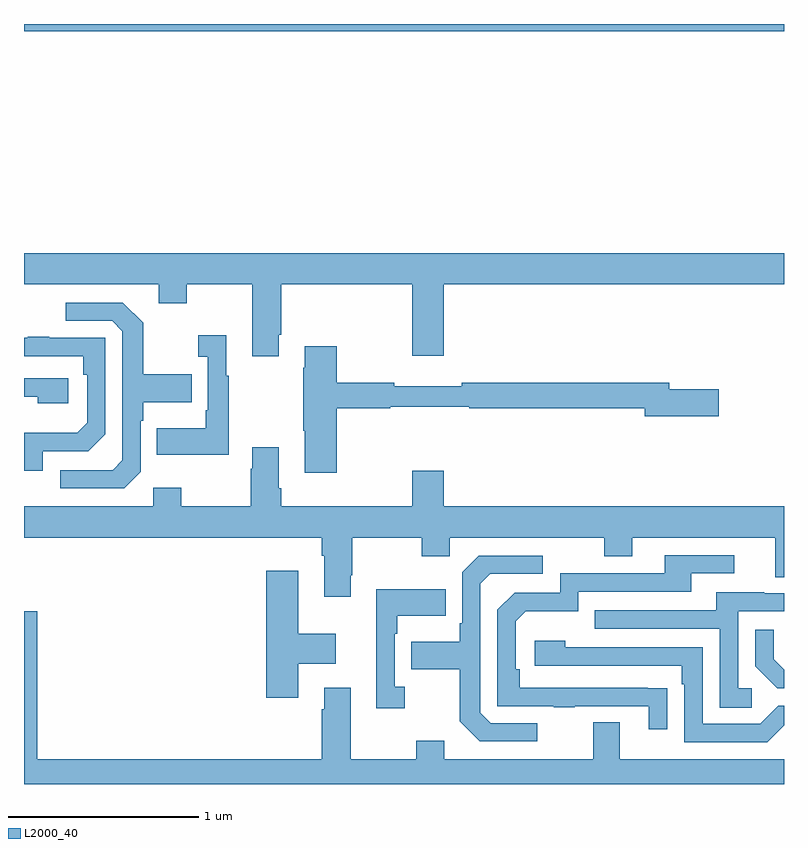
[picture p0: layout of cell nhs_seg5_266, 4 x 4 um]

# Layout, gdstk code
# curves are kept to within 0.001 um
import gdstk
lib = gdstk.Library(unit=1e-6, precision=1e-09)
def R(c, l, rs):  # rectangles x0, y0, x1, y1
    for r in rs: c.add(gdstk.rectangle(r[:2], r[2:], *l))
def P(c, l, *ps):  # polygons
    for p in ps: c.add(gdstk.Polygon(p, *l))
L2000_40 = (2000, 40)

nhs_seg5_266 = lib.new_cell('nhs_seg5_266')
R(nhs_seg5_266, L2000_40, [(127,856.76,131,856.799)])
P(nhs_seg5_266, L2000_40, [(128.341,855.163),(128.354,855.163),(128.354,855.428),(129.044,855.428),(129.044,855.054),(129.208,855.054),(129.208,855.428),(131,855.428),(131,855.592),(127,855.592),(127,855.428),(127.709,855.428),(127.709,855.329),(127.857,855.329),(127.857,855.428),(128.201,855.428),(128.201,855.051),(128.341,855.051)],
  [(127.614,854.442),(127.614,854.711),(127.627,854.711),(127.627,854.807),(127.883,854.807),(127.883,854.955),(127.627,854.955),(127.627,855.227),(127.521,855.333),(127.221,855.333),(127.221,855.237),(127.464,855.237),(127.518,855.183),(127.518,854.502),(127.467,854.451),(127.191,854.451),(127.191,854.355),(127.527,854.355)],
  [(128.077,854.947),(128.065,854.947),(128.065,855.16),(127.917,855.16),(127.917,855.047),(127.968,855.047),(127.968,854.767),(127.956,854.767),(127.956,854.671),(127.699,854.671),(127.699,854.531),(128.077,854.531)],
  [(127.098,854.55),(127.338,854.55),(127.428,854.64),(127.428,855.147),(127.133,855.147),(127.133,855.152),(127.021,855.152),(127.021,855.147),(127,855.147),(127,855.051),(127.312,855.051),(127.312,854.954),(127.332,854.954),(127.332,854.7),(127.279,854.647),(127.002,854.647),(127.002,854.544),(127,854.544),(127,854.448),(127.098,854.448)],
  [(128.645,854.776),(128.928,854.776),(128.928,854.784),(129.343,854.784),(129.343,854.776),(130.268,854.776),(130.268,854.734),(130.657,854.734),(130.657,854.876),(130.396,854.876),(130.396,854.912),(129.304,854.912),(129.304,854.893),(128.948,854.893),(128.948,854.912),(128.645,854.912),(128.645,855.103),(128.477,855.103),(128.477,854.99),(128.47,854.99),(128.47,854.659),(128.477,854.659),(128.477,854.436),(128.645,854.436)],
  [(127.234,854.934),(127,854.934),(127,854.838),(127.073,854.838),(127.073,854.804),(127.234,854.804)],
  [(128.719,853.897),(128.727,853.897),(128.727,854.096),(129.094,854.096),(129.094,853.997),(129.24,853.997),(129.24,854.096),(130.054,854.096),(130.054,853.997),(130.201,853.997),(130.201,854.096),(130.955,854.096),(130.955,853.888),(131,853.888),(131,854.26),(129.208,854.26),(129.208,854.449),(129.044,854.449),(129.044,854.26),(128.354,854.26),(128.354,854.356),(128.341,854.356),(128.341,854.572),(128.201,854.572),(128.201,854.459),(128.194,854.459),(128.194,854.26),(127.827,854.26),(127.827,854.359),(127.68,854.359),(127.68,854.26),(127,854.26),(127,854.096),(128.567,854.096),(128.567,854),(128.579,854),(128.579,853.785),(128.719,853.785)],
  [(130.385,853.304),(129.608,853.305),(129.608,853.402),(129.588,853.402),(129.588,853.656),(129.641,853.709),(129.918,853.709),(129.918,853.812),(130.513,853.812),(130.513,853.908),(130.738,853.908),(130.738,854.004),(130.373,854.004),(130.373,853.908),(129.822,853.908),(129.822,853.806),(129.582,853.806),(129.492,853.716),(129.492,853.209),(129.787,853.209),(129.787,853.204),(129.899,853.204),(129.899,853.209),(130.289,853.209),(130.289,853.086),(130.385,853.086)],
  [(129.7,853.119),(129.456,853.119),(129.402,853.173),(129.402,853.854),(129.453,853.905),(129.73,853.905),(129.73,854.001),(129.393,854.001),(129.306,853.914),(129.306,853.645),(129.294,853.645),(129.294,853.549),(129.037,853.549),(129.037,853.402),(129.294,853.402),(129.294,853.129),(129.399,853.023),(129.7,853.023)],
  [(128.443,853.433),(128.641,853.433),(128.641,853.591),(128.443,853.591),(128.443,853.921),(128.276,853.921),(128.276,853.254),(128.443,853.254)],
  [(129.004,853.31),(128.952,853.31),(128.952,853.589),(128.965,853.589),(128.965,853.685),(129.221,853.685),(129.221,853.825),(128.855,853.825),(128.855,853.197),(129.004,853.197)],
  [(130.831,853.302),(130.758,853.302),(130.758,853.707),(131,853.707),(131,853.803),(130.897,853.803),(130.897,853.807),(130.643,853.807),(130.643,853.713),(130.003,853.713),(130.003,853.617),(130.662,853.617),(130.662,853.201),(130.831,853.201)],
  [(129.064,852.928),(128.719,852.928),(128.719,853.306),(128.579,853.306),(128.579,853.193),(128.567,853.193),(128.567,852.928),(127.07,852.928),(127.07,853.708),(127,853.708),(127,852.799),(131,852.799),(131,852.928),(130.135,852.928),(130.135,853.123),(129.995,853.123),(129.995,852.928),(129.211,852.928),(129.211,853.027),(129.064,853.027)],
  [(131,853.4),(130.945,853.455),(130.945,853.612),(130.848,853.612),(130.848,853.418),(130.964,853.302),(131,853.302)],
  [(131,853.109),(131,853.212),(130.971,853.212),(130.875,853.116),(130.572,853.116),(130.572,853.518),(129.848,853.518),(129.848,853.552),(129.687,853.552),(129.687,853.422),(130.463,853.422),(130.463,853.325),(130.476,853.325),(130.476,853.02),(130.911,853.02)])

lib.write_gds('nhs_seg5_266.gds')
